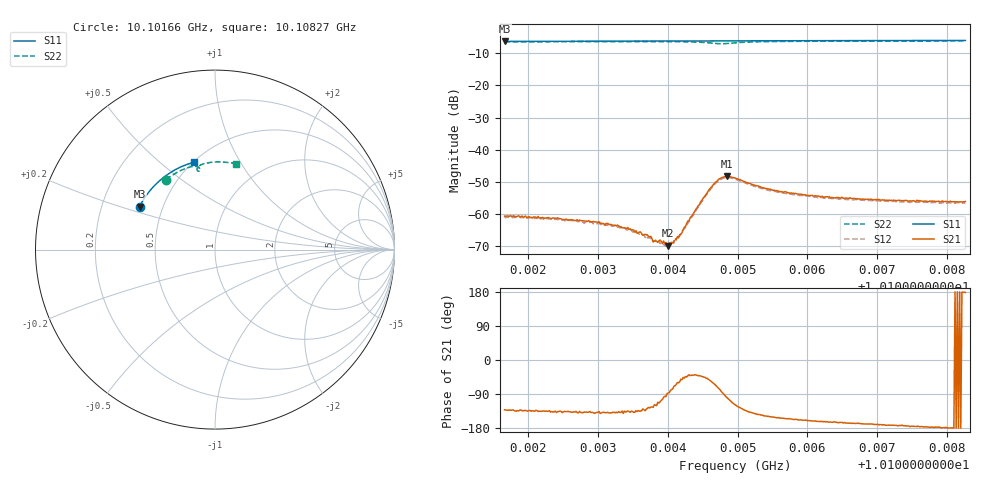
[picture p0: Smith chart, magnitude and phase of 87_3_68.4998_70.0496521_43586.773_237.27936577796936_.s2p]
#  HZ  S  RI  R  50.00
! Rohde & Schwarz Vector Network Analyzer
! Rohde-Schwarz,ZNB20-2Port,1311601062101988,3.16
! Created: UTC 3/20/2024, 5:07:39 PM
! freq[Hz]  re:S11  im:S11  re:S21  im:S21  re:S12  im:S12  re:S22  im:S22
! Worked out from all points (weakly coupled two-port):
!   401 points, 10.10166 GHz to 10.10827 GHz, reference 50 ohm
!   highest |S21| = -48.30 dB at 10.10485 GHz (marker M1); lowest = -69.9 dB at 10.10401 GHz (marker M2)
!   lowest |S11| = -6.3 dB at 10.10166 GHz (marker M3), VSWR 2.87, Z = 18.5 + j11.6 ohm
!   |S11| at or under -10 dB: nowhere
!   |S22| runs from -7.0 to -6.1 dB; largest |S21 - S12| = 0.00041
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1.0101662e10  -0.4202 0.2398  -0.00061 -0.000693  -0.000533 -0.000725  -0.2734 0.39
1.0102042e10  -0.4093 0.2602  -0.000629 -0.000625  -0.000568 -0.000676  -0.2536 0.4044
1.0102768e10  -0.3858 0.2977  -0.000588 -0.000517  -0.000523 -0.000529  -0.213 0.4294
1.0103263e10  -0.3679 0.3217  -0.000478 -0.000437  -0.000457 -0.000433  -0.1833 0.4441
1.0103495e10  -0.359 0.3326  -0.000407 -0.000393  -0.000347 -0.000394  -0.1686 0.4502
1.0103726e10  -0.3497 0.3432  -0.000252 -0.000361  -0.000219 -0.000361  -0.1534 0.4558
1.0103825e10  -0.3458 0.3477  -0.000187 -0.000332  -0.000139 -0.000368  -0.1466 0.4579
1.0103874e10  -0.3437 0.3499  -0.000153 -0.00035  -0.000103 -0.000356  -0.1431 0.4588
1.010394e10  -0.341 0.3529  -5.65e-05 -0.000375  -2.09e-05 -0.000334  -0.1383 0.4601
1.0104006e10  -0.3381 0.3555  1.61e-05 -0.000319  4e-05 -0.000323  -0.1334 0.4612
1.0104056e10  -0.3361 0.3579  7.49e-05 -0.000352  8.06e-05 -0.000345  -0.1297 0.462
1.0104188e10  -0.3305 0.3634  0.000307 -0.000374  0.000334 -0.000364  -0.1192 0.4633
1.0104303e10  -0.3254 0.3685  0.000604 -0.000488  0.000611 -0.000449  -0.1092 0.4635
1.0104502e10  -0.3168 0.3766  0.00123 -0.00119  0.00127 -0.001  -0.0912 0.4582
1.010465e10  -0.3099 0.3826  0.00138 -0.00247  0.00154 -0.00223  -0.083 0.4458
1.0104749e10  -0.3055 0.3865  0.000708 -0.00348  0.000959 -0.00327  -0.0871 0.4371
1.0104848e10  -0.301 0.3903  -0.000613 -0.00379  -0.000243 -0.00365  -0.096 0.438
1.0104964e10  -0.2957 0.3948  -0.0017 -0.00322  -0.00138 -0.00323  -0.0999 0.4482
1.0105426e10  -0.2736 0.412  -0.00212 -0.00129  -0.00188 -0.00141  -0.0713 0.4753
1.010607e10  -0.2412 0.4336  -0.00183 -0.000646  -0.00168 -0.000765  -0.0258 0.4857
1.0107176e10  -0.1817 0.4643  -0.00161 -0.000214  -0.00153 -0.000371  0.0472 0.4877
1.0108265e10  -0.1196 0.4862  -0.00156 4.64e-05  -0.00145 -0.000136  0.1168 0.4786
